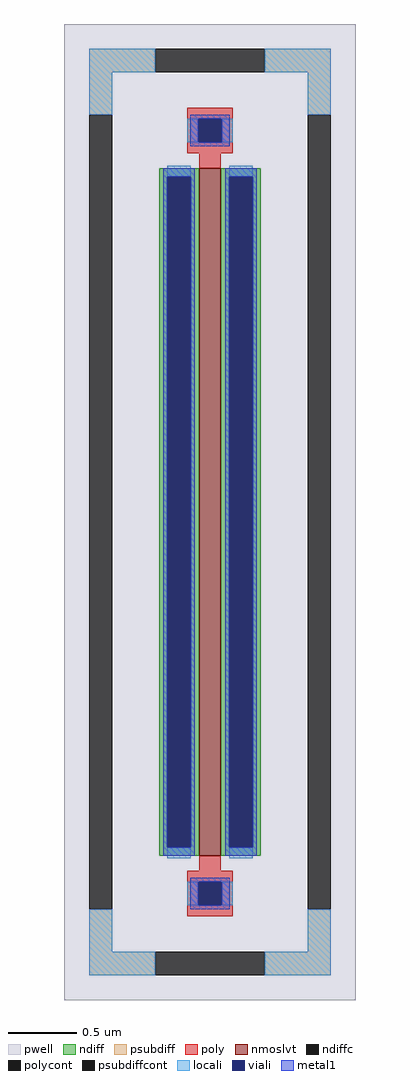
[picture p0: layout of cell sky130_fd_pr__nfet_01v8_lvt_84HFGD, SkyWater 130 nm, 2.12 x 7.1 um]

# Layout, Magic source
magic
tech sky130A
magscale 1 2
<< pwell >>
rect -212 -710 212 710
<< nmoslvt >>
rect -16 -500 16 500
<< ndiff >>
rect -74 488 -16 500
rect -74 -488 -62 488
rect -28 -488 -16 488
rect -74 -500 -16 -488
rect 16 488 74 500
rect 16 -488 28 488
rect 62 -488 74 488
rect 16 -500 74 -488
<< ndiffc >>
rect -62 -488 -28 488
rect 28 -488 62 488
<< psubdiff >>
rect -176 640 -80 674
rect 80 640 176 674
rect -176 578 -142 640
rect 142 578 176 640
rect -176 -640 -142 -578
rect 142 -640 176 -578
rect -176 -674 -80 -640
rect 80 -674 176 -640
<< psubdiffcont >>
rect -80 640 80 674
rect -176 -578 -142 578
rect 142 -578 176 578
rect -80 -674 80 -640
<< poly >>
rect -33 572 33 588
rect -33 538 -17 572
rect 17 538 33 572
rect -33 522 33 538
rect -16 500 16 522
rect -16 -522 16 -500
rect -33 -538 33 -522
rect -33 -572 -17 -538
rect 17 -572 33 -538
rect -33 -588 33 -572
<< polycont >>
rect -17 538 17 572
rect -17 -572 17 -538
<< locali >>
rect -176 640 -80 674
rect 80 640 176 674
rect -176 578 -142 640
rect 142 578 176 640
rect -33 538 -17 572
rect 17 538 33 572
rect -62 488 -28 504
rect -62 -504 -28 -488
rect 28 488 62 504
rect 28 -504 62 -488
rect -33 -572 -17 -538
rect 17 -572 33 -538
rect -176 -640 -142 -578
rect 142 -640 176 -578
rect -176 -674 -80 -640
rect 80 -674 176 -640
<< viali >>
rect -17 538 17 572
rect -62 -488 -28 488
rect 28 -488 62 488
rect -17 -572 17 -538
<< metal1 >>
rect -29 572 29 578
rect -29 538 -17 572
rect 17 538 29 572
rect -29 532 29 538
rect -68 488 -22 500
rect -68 -488 -62 488
rect -28 -488 -22 488
rect -68 -500 -22 -488
rect 22 488 68 500
rect 22 -488 28 488
rect 62 -488 68 488
rect 22 -500 68 -488
rect -29 -538 29 -532
rect -29 -572 -17 -538
rect 17 -572 29 -538
rect -29 -578 29 -572
<< properties >>
string FIXED_BBOX -159 -657 159 657
string gencell sky130_fd_pr__nfet_01v8_lvt
string library sky130
string parameters w 5.0 l 0.155 m 1 nf 1 diffcov 100 polycov 100 guard 1 glc 1 grc 1 gtc 1 gbc 1 tbcov 100 rlcov 100 topc 1 botc 1 poverlap 0 doverlap 1 lmin 0.15 wmin 0.42 compatible {sky130_fd_pr__nfet_01v8 sky130_fd_pr__nfet_01v8_lvt  sky130_fd_bs_flash__special_sonosfet_star  sky130_fd_pr__nfet_g5v0d10v5 sky130_fd_pr__nfet_05v0_nvt  sky130_fd_pr__nfet_03v3_nvt} full_metal 1 viasrc 100 viadrn 100 viagate 100 viagb 0 viagr 0 viagl 0 viagt 0
<< end >>
